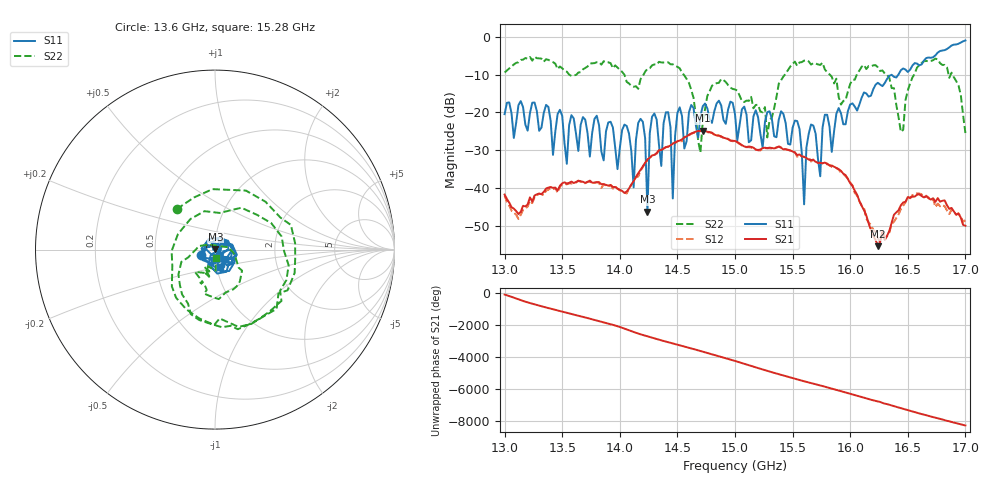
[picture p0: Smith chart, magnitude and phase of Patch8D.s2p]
!Keysight Technologies,P9374A,MY57211810,A.19.30.04
!Date: Friday, May 09, 2025 10:50:35
!Correction: S11(Cdelta 2-Port  )
!S21(Cdelta 2-Port  )
!S12(Cdelta 2-Port  )
!S22(Cdelta 2-Port  )
!S2P File: Measurements: S11, S21, S12, S22:
# Hz S  dB  R 50
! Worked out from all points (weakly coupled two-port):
!   201 points, 13 GHz to 17 GHz, reference 50 ohm
!   highest |S21| = -24.80 dB at 14.72 GHz (marker M1); lowest = -55.4 dB at 16.24 GHz (marker M2)
!   lowest |S11| = -46.3 dB at 14.24 GHz (marker M3), VSWR 1.01, Z = 50.2 + j0.423 ohm
!   |S11| at or under -10 dB: start of sweep to 16.42 GHz
!   |S22| runs from -30.6 to -5.2 dB; largest |S21 - S12| = 0.0029
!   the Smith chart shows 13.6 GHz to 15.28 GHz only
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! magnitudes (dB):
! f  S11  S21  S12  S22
! 13 GHz  -20.5  -41.7  -42.0  -9.4
! 13.68 GHz  -21.2  -38.4  -38.8  -8.6
! 14.12 GHz  -39.9  -38.2  -38.5  -13.2
! 14.2 GHz  -22.5  -34.3  -34.5  -10.4
! 14.24 GHz  -46.3  -32.5  -32.6  -8.4
! 14.28 GHz  -21.1  -31.4  -31.5  -7.5
! 14.34 GHz  -28.6  -30.0  -30.0  -6.6
! 14.42 GHz  -20.0  -29.1  -29.1  -6.7
! 14.46 GHz  -42.8  -28.3  -28.2  -7.2
! 14.5 GHz  -20.1  -27.6  -27.8  -7.9
! 14.72 GHz  -18.4  -24.8  -24.8  -22.4
! 15 GHz  -20.5  -27.6  -27.7  -13.9
! 15.28 GHz  -20.0  -29.5  -29.5  -26.6
! 15.54 GHz  -22.3  -31.3  -31.8  -7.7
! 15.6 GHz  -44.3  -31.8  -31.8  -6.3
! 15.68 GHz  -23.5  -32.5  -32.5  -6.9
! 15.74 GHz  -36.9  -33.4  -33.2  -7.4
! 15.78 GHz  -20.6  -33.3  -33.8  -8.6
! 16.24 GHz  -12.2  -55.4  -53.4  -8.0
! 16.34 GHz  -10.3  -51.4  -51.8  -10.9
! 16.76 GHz  -4.1  -42.7  -44.2  -6.0
! 17 GHz  -0.9  -50.0  -48.6  -25.5
